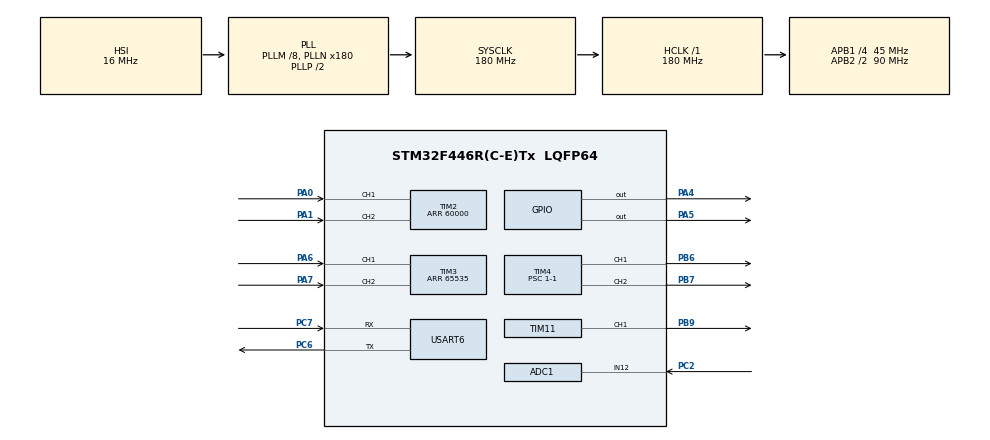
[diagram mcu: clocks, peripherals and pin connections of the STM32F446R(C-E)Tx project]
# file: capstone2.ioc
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ADC1.Channel-0\#ChannelRegularConversion=ADC_CHANNEL_12
ADC1.ClockPrescaler=ADC_CLOCK_SYNC_PCLK_DIV4
ADC1.ContinuousConvMode=ENABLE
ADC1.DMAContinuousRequests=ENABLE
ADC1.DataAlign=ADC_DATAALIGN_RIGHT
ADC1.DiscontinuousConvMode=DISABLE
ADC1.EOCSelection=ADC_EOC_SINGLE_CONV
ADC1.EnableAnalogWatchDog=false
ADC1.ExternalTrigConv=ADC_SOFTWARE_START
ADC1.ExternalTrigConvEdge=ADC_EXTERNALTRIGCONVEDGE_NONE
ADC1.InjNumberOfConversion=0
ADC1.NbrOfConversion=1
ADC1.NbrOfConversionFlag=1
ADC1.Rank-0\#ChannelRegularConversion=1
ADC1.Resolution=ADC_RESOLUTION_12B
ADC1.SamplingTime-0\#ChannelRegularConversion=ADC_SAMPLETIME_480CYCLES
ADC1.ScanConvMode=ENABLE
ADC1.master=1
Dma.ADC1.1.Direction=DMA_PERIPH_TO_MEMORY
Dma.ADC1.1.FIFOMode=DMA_FIFOMODE_DISABLE
Dma.ADC1.1.Instance=DMA2_Stream0
Dma.ADC1.1.MemDataAlignment=DMA_MDATAALIGN_WORD
Dma.ADC1.1.MemInc=DMA_MINC_ENABLE
Dma.ADC1.1.Mode=DMA_CIRCULAR
Dma.ADC1.1.PeriphDataAlignment=DMA_PDATAALIGN_WORD
Dma.ADC1.1.PeriphInc=DMA_PINC_DISABLE
Dma.ADC1.1.Priority=DMA_PRIORITY_LOW
Dma.Request0=USART6_RX
Dma.Request1=ADC1
Dma.USART6_RX.0.Direction=DMA_PERIPH_TO_MEMORY
Dma.USART6_RX.0.FIFOMode=DMA_FIFOMODE_DISABLE
Dma.USART6_RX.0.Instance=DMA2_Stream1
Dma.USART6_RX.0.MemDataAlignment=DMA_MDATAALIGN_BYTE
Dma.USART6_RX.0.MemInc=DMA_MINC_ENABLE
Dma.USART6_RX.0.Mode=DMA_CIRCULAR
Dma.USART6_RX.0.PeriphDataAlignment=DMA_PDATAALIGN_BYTE
Dma.USART6_RX.0.PeriphInc=DMA_PINC_DISABLE
Dma.USART6_RX.0.Priority=DMA_PRIORITY_LOW
Mcu.Family=STM32F4
Mcu.Name=STM32F446R(C-E)Tx
Mcu.Package=LQFP64
NVIC.DMA2_Stream0_IRQn=true\:0\:0\:false\:false\:true\:false\:true
NVIC.DMA2_Stream1_IRQn=true\:0\:0\:false\:false\:true\:false\:true
NVIC.PriorityGroup=NVIC_PRIORITYGROUP_4
NVIC.TIM4_IRQn=true\:0\:0\:false\:false\:true\:true\:true
PA0-WKUP.Signal=S_TIM2_CH1_ETR
PA1.Signal=S_TIM2_CH2
PA4.Signal=GPIO_Output
PA5.Signal=GPIO_Output
PA6.Signal=S_TIM3_CH1
PA7.Signal=S_TIM3_CH2
PB6.Signal=S_TIM4_CH1
PB7.Signal=S_TIM4_CH2
PB9.Signal=S_TIM11_CH1
PC14-OSC32_IN.Mode=LSE-External-Oscillator
PC14-OSC32_IN.Signal=RCC_OSC32_IN
PC15-OSC32_OUT.Mode=LSE-External-Oscillator
PC15-OSC32_OUT.Signal=RCC_OSC32_OUT
PC2.Signal=ADCx_IN12
PC6.Mode=Asynchronous
PC6.Signal=USART6_TX
PC7.Mode=Asynchronous
PC7.Signal=USART6_RX
PH0-OSC_IN.Mode=HSE-External-Clock-Source
PH0-OSC_IN.Signal=RCC_OSC_IN
PH1-OSC_OUT.Mode=HSE-External-Clock-Source
PH1-OSC_OUT.Signal=RCC_OSC_OUT
ProjectManager.HeapSize=0x200
ProjectManager.StackSize=0x400
ProjectManager.TargetToolchain=EWARM V7
RCC.AHBFreq_Value=180000000
RCC.APB1CLKDivider=RCC_HCLK_DIV4
RCC.APB1Freq_Value=45000000
RCC.APB1TimFreq_Value=90000000
RCC.APB2CLKDivider=RCC_HCLK_DIV2
RCC.APB2Freq_Value=90000000
RCC.APB2TimFreq_Value=180000000
RCC.CortexFreq_Value=180000000
RCC.HCLKFreq_Value=180000000
RCC.PLLM=8
RCC.PLLN=180
RCC.SYSCLKFreq_VALUE=180000000
RCC.SYSCLKSource=RCC_SYSCLKSOURCE_PLLCLK
RCC.USBFreq_Value=180000000
RCC.VCOOutputFreq_Value=360000000
SH.ADCx_IN12.0=ADC1_IN12,IN12
SH.S_TIM11_CH1.0=TIM11_CH1,PWM Generation1 CH1
SH.S_TIM2_CH1_ETR.0=TIM2_CH1,Encoder_Interface
SH.S_TIM2_CH2.0=TIM2_CH2,Encoder_Interface
SH.S_TIM3_CH1.0=TIM3_CH1,Encoder_Interface
SH.S_TIM3_CH2.0=TIM3_CH2,Encoder_Interface
SH.S_TIM4_CH1.0=TIM4_CH1,PWM Generation1 CH1
SH.S_TIM4_CH2.0=TIM4_CH2,PWM Generation2 CH2
TIM11.Channel=TIM_CHANNEL_1
TIM11.Period=60000-1
TIM11.Prescaler=60-1
TIM2.EncoderMode=TIM_ENCODERMODE_TI12
TIM2.Period=60000
TIM3.EncoderMode=TIM_ENCODERMODE_TI12
TIM3.Period=65535
TIM4.Channel-PWM\ Generation1\ CH1=TIM_CHANNEL_1
TIM4.Channel-PWM\ Generation2\ CH2=TIM_CHANNEL_2
TIM4.Period=4500-1
TIM4.Prescaler=1-1
USART6.VirtualMode=VM_ASYNC
VP_TIM11_VS_ClockSourceINT.Mode=Enable_Timer
VP_TIM4_VS_ClockSourceINT.Mode=Internal
board=capstone2

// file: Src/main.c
/* USER CODE BEGIN Header */
/**
  ******************************************************************************
  * @file           : main.c
  * @brief          : Main program body
  ******************************************************************************
  * @attention
  *
  * <h2><center>&copy; Copyright (c) 2021 STMicroelectronics.
  * All rights reserved.</center></h2>
  *
  * This software component is licensed by ST under BSD 3-Clause license,
  * the "License"; You may not use this file except in compliance with the
  * License. You may obtain a copy of the License at:
  *                        opensource.org/licenses/BSD-3-Clause
  *
  ******************************************************************************
  */
/* USER CODE END Header */

#include "main.h"

/* USER CODE BEGIN Includes */
#include "string.h"
#include "math.h"
#include "dataType.h"

/* USER CODE END Includes */

ADC_HandleTypeDef hadc1;
DMA_HandleTypeDef hdma_adc1;

TIM_HandleTypeDef htim2;
TIM_HandleTypeDef htim3;
TIM_HandleTypeDef htim4;
TIM_HandleTypeDef htim11;

UART_HandleTypeDef huart6;
DMA_HandleTypeDef hdma_usart6_rx;

/* USER CODE BEGIN PV */
/* Private variables ---------------------------------------------------------*/
#define RX_BUFFER_SIZE 256
#define TX_BUFFER_SIZE 256
#define dt1 0.0005
#define dt2 0.005
#define dt3 0.05
#define ppr 4000
#define pi 3.141592653589793
#define get_dma_data_length() huart6.hdmarx->Instance->NDTR
#define get_dma_total_size() huart6.RxXferSize
#define shooting 6000
#define noshooting 3500

int32_t encoder_cnt_R = 0;
int32_t encoder_cnt_pre_R = 0;
int32_t cnt_R = 0;
int32_t k = 0;
int16_t mode = 0;
volatile double angular_velocity_R = 0;
volatile double angular_velocity_pre_R = 0;
volatile double theta = 0;
volatile uint16_t Motor_CCR_R = 0;
volatile uint16_t shoot_degree = 0;
volatile uint32_t timer = 0;
volatile uint32_t shoot_timer = 0;

volatile double Kpc = 0.9;//45.5672;
volatile double Kic = 720;//8685.17;

volatile double Kac = 0;
volatile double Kps = 0.7;//0.7
volatile double Kis = 5;//5

volatile double Kas = 0;
volatile double Es = 0;
volatile double Eis = 0;
volatile double V_control = 0;//speed
volatile double rep_r = 0;
volatile double rep_current = 0;
volatile double Ecurrent = 0;
volatile double EScurrent = 0;
volatile double C_control = 0;
volatile double Motor_PWM = 0;
volatile double current_saturation = 1.5;

volatile double Kpp = 6.5;//8.0
volatile double Kip = 0;
volatile double Kdp = 0.23;//0.248
volatile double Kap = 0;
volatile double Eposition = 0;
volatile double ESposition = 0;
volatile double Edposition = 0;
volatile double rep_position = 0;
volatile double rep_degree = 0;
volatile double P_control;
volatile double velocity_saturation = 2.5;

volatile uint32_t adcVal[2];
volatile uint32_t adcVal_pre;
volatile double current_offset = 3121.5;
volatile double current;
volatile double current_pre;
volatile double current_mv[10];
uint16_t c_cnt = 0;
volatile double tau = 0.00051;
volatile double current_sum = 0;

int16_t watch_current;
int16_t watch_repc;
int16_t watch_velocity;
int16_t watch_repv;
int16_t watch_repp;
int16_t watch_degree;

uint8_t rx_dma_buffer[RX_BUFFER_SIZE];
uint8_t rx_buffer[RX_BUFFER_SIZE];
uint32_t rx_size = 0;
uint8_t tx_buffer[TX_BUFFER_SIZE];
uint8_t tx_len;
volatile unsigned char g_tail_pos = 255;
volatile unsigned char g_head_pos;
volatile Packet_t g_PacketBuffer;
volatile unsigned char g_PacketMode;
volatile unsigned char g_ID=1;
volatile unsigned char checkSize;
volatile unsigned char g_checksum;
volatile Packet_t g_Tx_Packet;
volatile unsigned char g_Tx_checksum;
volatile int g_SendFlag;

volatile uint16_t shoot = 0;
/* USER CODE END PV */

void SystemClock_Config(void);
static void MX_GPIO_Init(void);
static void MX_DMA_Init(void);
static void MX_TIM4_Init(void);
static void MX_TIM3_Init(void);
static void MX_TIM2_Init(void);
static void MX_USART6_UART_Init(void);
static void MX_ADC1_Init(void);
static void MX_TIM11_Init(void);
/* USER CODE BEGIN PFP */
/* Private function prototypes -----------------------------------------------*/

/* USER CODE END PFP */

/* USER CODE BEGIN 0 */

void Uart_rx_dma_handler() {
  uint8_t cnt;
  uint8_t i;

  rx_size = 0;
  g_head_pos = huart6.RxXferSize - huart6.hdmarx->Instance->NDTR -1;

  while(g_tail_pos != g_head_pos) {
    switch (g_PacketMode) {
      case 0:
        if (rx_dma_buffer[g_tail_pos] == 0xFE) {//Header check
          checkSize++;
          if (checkSize == 4) g_PacketMode = 1;// header 4개가 다 들어왔으면 1번 모드로 변경
        }
        else checkSize = 0;	//초기화
      break;
      case 1:
        g_PacketBuffer.buffer[checkSize++] = rx_dma_buffer[g_tail_pos]; //checkSize 8될때 까지 g_PacketBuffer.buffer에 받아온 값 담기(size,mode,g_checksum)
        if (checkSize == 8) g_PacketMode = 2;
      break;

      case 2:
       g_PacketBuffer.buffer[checkSize++] = rx_dma_buffer[g_tail_pos];
       g_checksum += rx_dma_buffer[g_tail_pos];

       if (checkSize == g_PacketBuffer.data.size){					//data size만큼 버퍼읽음
         if (g_checksum == g_PacketBuffer.data.check){					// checksum check
            switch(g_PacketBuffer.data.mode){				// 모든게 올바르면, Get target position, Velocity limit Current Limit
               case 2:
                 rep_degree = -g_PacketBuffer.data.pos_P/1000.;
                 velocity_saturation = g_PacketBuffer.data.vel_P/1000.;
                 shoot = g_PacketBuffer.data.shoot;
               break;
            }
         }
         //초기화
         g_checksum = 0;
         g_PacketMode = 0;
         checkSize = 0;
       }
       else if(checkSize > g_PacketBuffer.data.size || checkSize > sizeof(Packet_t)){		//오류시 초기화
           g_checksum = 0;
           g_PacketMode = 0;
           checkSize = 0;
       }
    }

     if(g_SendFlag >9) {
        g_SendFlag = 0;
        g_Tx_Packet.data.header[0] = g_Tx_Packet.data.header[1] = g_Tx_Packet.data.header[2] = g_Tx_Packet.data.header[3] = 0xFE;
        g_Tx_Packet.data.id = g_ID;							//motor id 다만 이번과제에선 사용하지 않음
        g_Tx_Packet.data.size = sizeof(Packet_data_t);
        g_Tx_Packet.data.mode = 3;						//mode 3
        g_Tx_Packet.data.check = 0;

        g_Tx_Packet.data.pos_P = -theta*180/pi*1000;
        g_Tx_Packet.data.vel_P = -angular_velocity_R* 1000;
        g_Tx_Packet.data.shoot = shoot;

        for(int i = 8; i< sizeof(Packet_t);i++)		// checksum 제작
        g_Tx_Packet.data.check += g_Tx_Packet.buffer[i];

        for(int i =0; i<g_Tx_Packet.data.size;i++){		//송신
          tx_buffer[i] = g_Tx_Packet.buffer[i];
        }
        HAL_UART_Transmit(&huart6, tx_buffer, g_Tx_Packet.data.size,10);
    }
    g_tail_pos++;
  }

}

void HAL_TIM_PeriodElapsedCallback(TIM_HandleTypeDef *htim) {
  if(htim == &htim4) {
    timer++;
    //HAL_GPIO_WritePin(GPIOA,GPIO_PIN_4,GPIO_PIN_SET);

    HAL_ADC_Start_DMA(&hadc1,(uint32_t*)adcVal,1);
    adcVal[0] = (double)(0.00005*adcVal[0] + tau*adcVal_pre)/(tau+0.00005);
    adcVal_pre = adcVal[0];
    current_sum -= current_mv[c_cnt];
    current_mv[c_cnt] = adcVal[0];
    current_sum += current_mv[c_cnt];
    c_cnt = (c_cnt+1)%10;
    current = (double)(current_sum/10.-current_offset)/4096*33.;
    if(mode == 1) {
      k++;
      if(k > 8000) {
        current_offset = current_sum/10.;
        Ecurrent = 0;
        EScurrent = 0;
        Es = 0;
        Eis = 0;
        Motor_CCR_R = 0;
        timer = 1;
        C_control = 0;
        mode = 2;
      }
    }
    else if(mode ==2) {
      if(timer%1000 == 0) {

        rep_position = (double)rep_degree*pi/180;//input degree output radian
        /*
        if(theta < -1 * pi) {
          theta += 2.0*pi;
        }
        else if(theta > pi) {
          theta -= 2.0*pi;
        }
        if(rep_position < -1 * pi) {
          rep_position += 2.0*pi;
        }
        else if(rep_position > pi) {
          rep_position -= 2.0*pi;
        }*/
        Edposition = Eposition;
        Eposition = (double)rep_position - theta;
        //ESposition += (double)Eposition;
        //Kap = 1./(3*Kpp);
        P_control = (double)(Kpp * Eposition +/*Kip*ESposition*dt3 +*/ Kdp *(Eposition - Edposition)/dt3);

        if(P_control >= velocity_saturation) {
          //ESposition -= (double)(P_control - velocity_saturation)*Kap;
          P_control = velocity_saturation;
        }
        else if(P_control <= -velocity_saturation) {
          //ESposition -= (double)(P_control + velocity_saturation)*Kap;
          P_control = -velocity_saturation;
        }
        if(shoot == 1) {
          shoot_timer++;
          shoot_degree =  shooting;
          if(shoot_timer == 10) {
            shoot_degree = noshooting;
            shoot = 0;
            shoot_timer = 0;
            }
        }
        else if(shoot == 0) {
            shoot_degree = noshooting;
        }

        g_SendFlag++;
        timer = 0;
      }

      if(timer%100 == 0) {
        encoder_cnt_pre_R = encoder_cnt_R;
        encoder_cnt_R = TIM3->CNT;
        cnt_R = encoder_cnt_R - encoder_cnt_pre_R;
        rep_r = P_control;

        if(encoder_cnt_R < 500 && encoder_cnt_pre_R > 64500 ) cnt_R += 65535;
        else if(encoder_cnt_pre_R < 500 && encoder_cnt_R > 64500) cnt_R -= 65535;

        theta += (double)(2*pi*cnt_R/ppr);
        angular_velocity_R = (double)(2*pi*cnt_R/ppr)/dt2;

        Es = (double)(rep_r - angular_velocity_R);
        Eis += (double)Es;

        V_control = (double)(Kps * Es + Kis * Eis*dt2);

        if(V_control >= current_saturation) {
          Eis -= (double)(V_control - current_saturation)*Kas;
          V_control = current_saturation;
        }
        else if(V_control <= -current_saturation) {
          Eis -= (double)(V_control + current_saturation)*Kas;
          V_control = -current_saturation;
        }

      }

      if(timer%10 == 0) {
        //current[0] = (double)(0.005*current_n[0] + tau*current_pre[0])/(tau+0.005);
        //current_pre[0] = current[0];
        rep_current = V_control;
        Ecurrent = (double)(rep_current-current);
        C_control = (double)(Kpc * Ecurrent + Kic * EScurrent * dt1);
        //C_control += 0.005*angular_velocity_R;
        EScurrent += (double)Ecurrent;

        if(C_control >= 12) {
          EScurrent -= (C_control - 12)*Kac;
          C_control = 12;
        }
        else if(C_control <= -12) {
          EScurrent -= (C_control + 12)*Kac;
          C_control = -12;
        }

        if(C_control < 0 ) {
          HAL_GPIO_WritePin(GPIOA,GPIO_PIN_5,GPIO_PIN_SET);
          C_control = -C_control;
        }
        else {
         HAL_GPIO_WritePin(GPIOA,GPIO_PIN_5,GPIO_PIN_RESET);
        }
      }

      Motor_PWM = (double)C_control*374.9166666667;
      Motor_CCR_R = (uint16_t)Motor_PWM;
      //HAL_GPIO_WritePin(GPIOA,GPIO_PIN_4,GPIO_PIN_RESET);
    }
    TIM4->CCR1 = Motor_CCR_R;
    TIM11->CCR1 = shoot_degree;
    /*
    servomotor 20ms prescale 60 count 60000
    */
    watch_current = 1000*current;
    watch_repc = 1000*rep_current ;
    watch_velocity = 1000*angular_velocity_R;
    watch_repv = 1000 * rep_r;
    watch_repp = 1000 *rep_degree;
    watch_degree = 1000 *theta/pi*180.;
  }
}

/* USER CODE END 0 */

int main(void)
{
  /* USER CODE BEGIN 1 */
      Motor_CCR_R = 0;
      mode=1;
  /* USER CODE END 1 */

  /* MCU Configuration--------------------------------------------------------*/

  /* Reset of all peripherals, Initializes the Flash interface and the Systick. */
  HAL_Init();

  /* Configure the system clock */
  SystemClock_Config();

  /* Initialize all configured peripherals */
  MX_GPIO_Init();
  MX_DMA_Init();
  MX_TIM4_Init();
  MX_TIM3_Init();
  MX_TIM2_Init();
  MX_USART6_UART_Init();
  MX_ADC1_Init();
  MX_TIM11_Init();
  /* USER CODE BEGIN 2 */
  HAL_TIM_Encoder_Start(&htim3,TIM_CHANNEL_ALL);
  Kac = 1./(2.1*Kpc);
  Kas = 1./(1.1*Kps);
  Kap = 1./(3*Kpp);
  HAL_UART_Receive_DMA(&huart6, rx_dma_buffer, RX_BUFFER_SIZE);
  HAL_TIM_PWM_Start(&htim4, TIM_CHANNEL_1);
  HAL_TIMEx_PWMN_Start(&htim4, TIM_CHANNEL_1);
  HAL_TIM_PWM_Start(&htim11, TIM_CHANNEL_1);
  HAL_TIMEx_PWMN_Start(&htim11, TIM_CHANNEL_1);//3000 1ms
  //HAL_TIM_PWM_Start(&htim4, TIM_CHANNEL_2);
  //HAL_TIMEx_PWMN_Start(&htim4, TIM_CHANNEL_2);
  //HAL_TIM_Encoder_Start(&htim2,TIM_CHANNEL_ALL);
  //HAL_TIM_Encoder_Start(&htim3,TIM_CHANNEL_ALL);
  //HAL_GPIO_WritePin(GPIOA,GPIO_PIN_4,GPIO_PIN_SET);
  HAL_GPIO_WritePin(GPIOA,GPIO_PIN_5,GPIO_PIN_SET);//Set CCW //RESET CW
  HAL_TIM_Base_Start_IT(&htim4);

  /* USER CODE END 2 */

  /* Infinite loop */
  while (1)
  {

    /* USER CODE BEGIN 3 */
  Uart_rx_dma_handler();
  }
  /* USER CODE END 3 */
}

void SystemClock_Config(void)
{
  RCC_OscInitTypeDef RCC_OscInitStruct = {0};
  RCC_ClkInitTypeDef RCC_ClkInitStruct = {0};

  /** Configure the main internal regulator output voltage
  */
  __HAL_RCC_PWR_CLK_ENABLE();
  __HAL_PWR_VOLTAGESCALING_CONFIG(PWR_REGULATOR_VOLTAGE_SCALE1);
  /** Initializes the CPU, AHB and APB busses clocks
  */
  RCC_OscInitStruct.OscillatorType = RCC_OSCILLATORTYPE_HSI;
  RCC_OscInitStruct.HSIState = RCC_HSI_ON;
  RCC_OscInitStruct.HSICalibrationValue = RCC_HSICALIBRATION_DEFAULT;
  RCC_OscInitStruct.PLL.PLLState = RCC_PLL_ON;
  RCC_OscInitStruct.PLL.PLLSource = RCC_PLLSOURCE_HSI;
  RCC_OscInitStruct.PLL.PLLM = 8;
  RCC_OscInitStruct.PLL.PLLN = 180;
  RCC_OscInitStruct.PLL.PLLP = RCC_PLLP_DIV2;
  RCC_OscInitStruct.PLL.PLLQ = 2;
  RCC_OscInitStruct.PLL.PLLR = 2;
  if (HAL_RCC_OscConfig(&RCC_OscInitStruct) != HAL_OK)
  {
    Error_Handler();
  }
  /** Activate the Over-Drive mode
  */
  if (HAL_PWREx_EnableOverDrive() != HAL_OK)
  {
    Error_Handler();
  }
  /** Initializes the CPU, AHB and APB busses clocks
  */
  RCC_ClkInitStruct.ClockType = RCC_CLOCKTYPE_HCLK|RCC_CLOCKTYPE_SYSCLK
                              |RCC_CLOCKTYPE_PCLK1|RCC_CLOCKTYPE_PCLK2;
  RCC_ClkInitStruct.SYSCLKSource = RCC_SYSCLKSOURCE_PLLCLK;
  RCC_ClkInitStruct.AHBCLKDivider = RCC_SYSCLK_DIV1;
  RCC_ClkInitStruct.APB1CLKDivider = RCC_HCLK_DIV4;
  RCC_ClkInitStruct.APB2CLKDivider = RCC_HCLK_DIV2;

  if (HAL_RCC_ClockConfig(&RCC_ClkInitStruct, FLASH_LATENCY_5) != HAL_OK)
  {
    Error_Handler();
  }
}

static void MX_ADC1_Init(void)
{

  ADC_ChannelConfTypeDef sConfig = {0};

  /** Configure the global features of the ADC (Clock, Resolution, Data Alignment and number of conversion)
  */
  hadc1.Instance = ADC1;
  hadc1.Init.ClockPrescaler = ADC_CLOCK_SYNC_PCLK_DIV4;
  hadc1.Init.Resolution = ADC_RESOLUTION_12B;
  hadc1.Init.ScanConvMode = ENABLE;
  hadc1.Init.ContinuousConvMode = ENABLE;
  hadc1.Init.DiscontinuousConvMode = DISABLE;
  hadc1.Init.ExternalTrigConvEdge = ADC_EXTERNALTRIGCONVEDGE_NONE;
  hadc1.Init.ExternalTrigConv = ADC_SOFTWARE_START;
  hadc1.Init.DataAlign = ADC_DATAALIGN_RIGHT;
  hadc1.Init.NbrOfConversion = 1;
  hadc1.Init.DMAContinuousRequests = ENABLE;
  hadc1.Init.EOCSelection = ADC_EOC_SINGLE_CONV;
  if (HAL_ADC_Init(&hadc1) != HAL_OK)
  {
    Error_Handler();
  }
  /** Configure for the selected ADC regular channel its corresponding rank in the sequencer and its sample time.
  */
  sConfig.Channel = ADC_CHANNEL_12;
  sConfig.Rank = 1;
  sConfig.SamplingTime = ADC_SAMPLETIME_480CYCLES;
  if (HAL_ADC_ConfigChannel(&hadc1, &sConfig) != HAL_OK)
  {
    Error_Handler();
  }

}

static void MX_TIM2_Init(void)
{

  TIM_Encoder_InitTypeDef sConfig = {0};
  TIM_MasterConfigTypeDef sMasterConfig = {0};

  htim2.Instance = TIM2;
  htim2.Init.Prescaler = 0;
  htim2.Init.CounterMode = TIM_COUNTERMODE_UP;
  htim2.Init.Period = 60000;
  htim2.Init.ClockDivision = TIM_CLOCKDIVISION_DIV1;
  htim2.Init.AutoReloadPreload = TIM_AUTORELOAD_PRELOAD_DISABLE;
  sConfig.EncoderMode = TIM_ENCODERMODE_TI12;
  sConfig.IC1Polarity = TIM_ICPOLARITY_RISING;
  sConfig.IC1Selection = TIM_ICSELECTION_DIRECTTI;
  sConfig.IC1Prescaler = TIM_ICPSC_DIV1;
  sConfig.IC1Filter = 0;
  sConfig.IC2Polarity = TIM_ICPOLARITY_RISING;
  sConfig.IC2Selection = TIM_ICSELECTION_DIRECTTI;
  sConfig.IC2Prescaler = TIM_ICPSC_DIV1;
  sConfig.IC2Filter = 0;
  if (HAL_TIM_Encoder_Init(&htim2, &sConfig) != HAL_OK)
  {
    Error_Handler();
  }
  sMasterConfig.MasterOutputTrigger = TIM_TRGO_RESET;
  sMasterConfig.MasterSlaveMode = TIM_MASTERSLAVEMODE_DISABLE;
  if (HAL_TIMEx_MasterConfigSynchronization(&htim2, &sMasterConfig) != HAL_OK)
  {
    Error_Handler();
  }

}

static void MX_TIM3_Init(void)
{

  TIM_Encoder_InitTypeDef sConfig = {0};
  TIM_MasterConfigTypeDef sMasterConfig = {0};

  htim3.Instance = TIM3;
  htim3.Init.Prescaler = 0;
  htim3.Init.CounterMode = TIM_COUNTERMODE_UP;
  htim3.Init.Period = 65535;
  htim3.Init.ClockDivision = TIM_CLOCKDIVISION_DIV1;
  htim3.Init.AutoReloadPreload = TIM_AUTORELOAD_PRELOAD_DISABLE;
  sConfig.EncoderMode = TIM_ENCODERMODE_TI12;
  sConfig.IC1Polarity = TIM_ICPOLARITY_RISING;
  sConfig.IC1Selection = TIM_ICSELECTION_DIRECTTI;
  sConfig.IC1Prescaler = TIM_ICPSC_DIV1;
  sConfig.IC1Filter = 0;
  sConfig.IC2Polarity = TIM_ICPOLARITY_RISING;
  sConfig.IC2Selection = TIM_ICSELECTION_DIRECTTI;
  sConfig.IC2Prescaler = TIM_ICPSC_DIV1;
  sConfig.IC2Filter = 0;
  if (HAL_TIM_Encoder_Init(&htim3, &sConfig) != HAL_OK)
  {
    Error_Handler();
  }
  sMasterConfig.MasterOutputTrigger = TIM_TRGO_RESET;
  sMasterConfig.MasterSlaveMode = TIM_MASTERSLAVEMODE_DISABLE;
  if (HAL_TIMEx_MasterConfigSynchronization(&htim3, &sMasterConfig) != HAL_OK)
  {
    Error_Handler();
  }

}

static void MX_TIM4_Init(void)
{

  TIM_ClockConfigTypeDef sClockSourceConfig = {0};
  TIM_MasterConfigTypeDef sMasterConfig = {0};
  TIM_OC_InitTypeDef sConfigOC = {0};

  htim4.Instance = TIM4;
  htim4.Init.Prescaler = 1-1;
  htim4.Init.CounterMode = TIM_COUNTERMODE_UP;
  htim4.Init.Period = 4500-1;
  htim4.Init.ClockDivision = TIM_CLOCKDIVISION_DIV1;
  htim4.Init.AutoReloadPreload = TIM_AUTORELOAD_PRELOAD_DISABLE;
  if (HAL_TIM_Base_Init(&htim4) != HAL_OK)
  {
    Error_Handler();
  }
  sClockSourceConfig.ClockSource = TIM_CLOCKSOURCE_INTERNAL;
  if (HAL_TIM_ConfigClockSource(&htim4, &sClockSourceConfig) != HAL_OK)
  {
    Error_Handler();
  }
  if (HAL_TIM_PWM_Init(&htim4) != HAL_OK)
  {
    Error_Handler();
  }
  sMasterConfig.MasterOutputTrigger = TIM_TRGO_RESET;
  sMasterConfig.MasterSlaveMode = TIM_MASTERSLAVEMODE_DISABLE;
  if (HAL_TIMEx_MasterConfigSynchronization(&htim4, &sMasterConfig) != HAL_OK)
  {
    Error_Handler();
  }
  sConfigOC.OCMode = TIM_OCMODE_PWM1;
  sConfigOC.Pulse = 0;
  sConfigOC.OCPolarity = TIM_OCPOLARITY_HIGH;
  sConfigOC.OCFastMode = TIM_OCFAST_DISABLE;
  if (HAL_TIM_PWM_ConfigChannel(&htim4, &sConfigOC, TIM_CHANNEL_1) != HAL_OK)
  {
    Error_Handler();
  }
  if (HAL_TIM_PWM_ConfigChannel(&htim4, &sConfigOC, TIM_CHANNEL_2) != HAL_OK)
  {
    Error_Handler();
  }
  HAL_TIM_MspPostInit(&htim4);

}

static void MX_TIM11_Init(void)
{

  TIM_OC_InitTypeDef sConfigOC = {0};

  htim11.Instance = TIM11;
  htim11.Init.Prescaler = 60-1;
  htim11.Init.CounterMode = TIM_COUNTERMODE_UP;
  htim11.Init.Period = 60000-1;
  htim11.Init.ClockDivision = TIM_CLOCKDIVISION_DIV1;
  htim11.Init.AutoReloadPreload = TIM_AUTORELOAD_PRELOAD_DISABLE;
  if (HAL_TIM_Base_Init(&htim11) != HAL_OK)
  {
    Error_Handler();
  }
  if (HAL_TIM_PWM_Init(&htim11) != HAL_OK)
  {
    Error_Handler();
  }
  sConfigOC.OCMode = TIM_OCMODE_PWM1;
  sConfigOC.Pulse = 0;
  sConfigOC.OCPolarity = TIM_OCPOLARITY_HIGH;
  sConfigOC.OCFastMode = TIM_OCFAST_DISABLE;
  if (HAL_TIM_PWM_ConfigChannel(&htim11, &sConfigOC, TIM_CHANNEL_1) != HAL_OK)
  {
    Error_Handler();
  }
  HAL_TIM_MspPostInit(&htim11);

}

static void MX_USART6_UART_Init(void)
{

  huart6.Instance = USART6;
  huart6.Init.BaudRate = 115200;
  huart6.Init.WordLength = UART_WORDLENGTH_8B;
  huart6.Init.StopBits = UART_STOPBITS_1;
  huart6.Init.Parity = UART_PARITY_NONE;
  huart6.Init.Mode = UART_MODE_TX_RX;
  huart6.Init.HwFlowCtl = UART_HWCONTROL_NONE;
  huart6.Init.OverSampling = UART_OVERSAMPLING_16;
  if (HAL_UART_Init(&huart6) != HAL_OK)
  {
    Error_Handler();
  }

}

static void MX_DMA_Init(void)
{
  /* DMA controller clock enable */
  __HAL_RCC_DMA2_CLK_ENABLE();

  /* DMA interrupt init */
  /* DMA2_Stream0_IRQn interrupt configuration */
  HAL_NVIC_SetPriority(DMA2_Stream0_IRQn, 0, 0);
  HAL_NVIC_EnableIRQ(DMA2_Stream0_IRQn);
  /* DMA2_Stream1_IRQn interrupt configuration */
  HAL_NVIC_SetPriority(DMA2_Stream1_IRQn, 0, 0);
  HAL_NVIC_EnableIRQ(DMA2_Stream1_IRQn);

}

static void MX_GPIO_Init(void)
{
  GPIO_InitTypeDef GPIO_InitStruct = {0};

  /* GPIO Ports Clock Enable */
  __HAL_RCC_GPIOC_CLK_ENABLE();
  __HAL_RCC_GPIOH_CLK_ENABLE();
  __HAL_RCC_GPIOA_CLK_ENABLE();
  __HAL_RCC_GPIOB_CLK_ENABLE();

  /*Configure GPIO pin Output Level */
  HAL_GPIO_WritePin(GPIOA, GPIO_PIN_4|GPIO_PIN_5, GPIO_PIN_RESET);

  /*Configure GPIO pins : PA4 PA5 */
  GPIO_InitStruct.Pin = GPIO_PIN_4|GPIO_PIN_5;
  GPIO_InitStruct.Mode = GPIO_MODE_OUTPUT_PP;
  GPIO_InitStruct.Pull = GPIO_NOPULL;
  GPIO_InitStruct.Speed = GPIO_SPEED_FREQ_LOW;
  HAL_GPIO_Init(GPIOA, &GPIO_InitStruct);

}

void Error_Handler(void)
{
  while(1)
  {
  }
}

/************************ (C) COPYRIGHT STMicroelectronics *****END OF FILE****/
